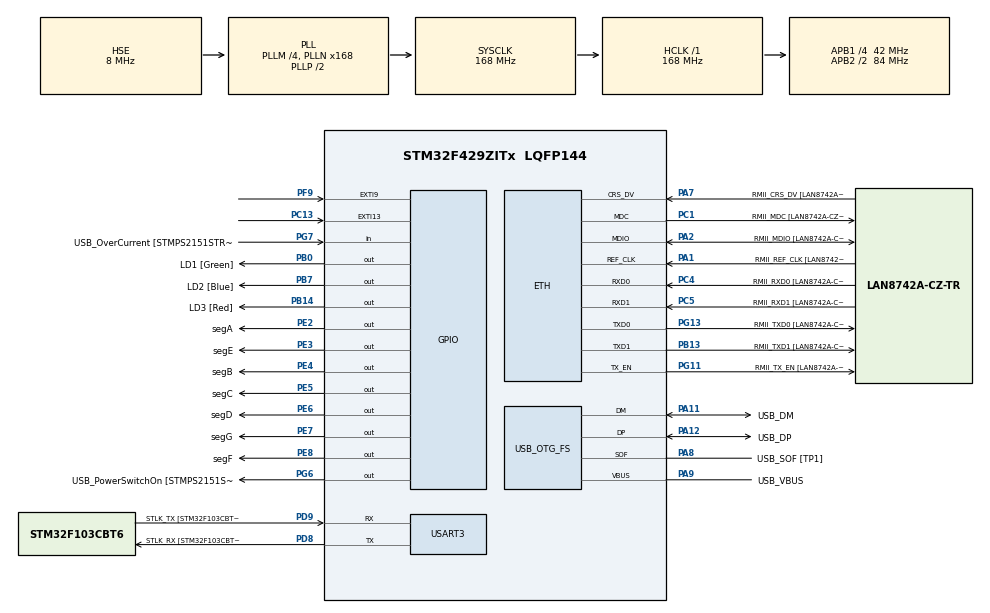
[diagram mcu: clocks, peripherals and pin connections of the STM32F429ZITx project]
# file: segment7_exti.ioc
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ETH.MediaInterface=HAL_ETH_RMII_MODE
ETH.PHY_Name=LAN8742A_PHY_ADDRESS
ETH.PHY_Value=0
ETH.PhyAddress=0
Mcu.Family=STM32F4
Mcu.Name=STM32F429ZITx
Mcu.Package=LQFP144
NVIC.EXTI15_10_IRQn=true\:0\:0\:false\:true\:true\:1\:true\:true\:true
NVIC.EXTI9_5_IRQn=true\:0\:0\:false\:true\:true\:2\:true\:true\:true
NVIC.PriorityGroup=NVIC_PRIORITYGROUP_4
PA1.GPIO_Label=RMII_REF_CLK [LAN8742A-CZ-TR_REFCLK0]
PA1.Mode=RMII
PA1.Signal=ETH_REF_CLK
PA10.GPIO_Label=USB_ID
PA10.Signal=USB_OTG_FS_ID
PA11.GPIO_Label=USB_DM
PA11.Mode=Device_Only
PA11.Signal=USB_OTG_FS_DM
PA12.GPIO_Label=USB_DP
PA12.Mode=Device_Only
PA12.Signal=USB_OTG_FS_DP
PA13.GPIO_Label=TMS
PA13.Mode=Serial_Wire
PA13.Signal=SYS_JTMS-SWDIO
PA14.GPIO_Label=TCK
PA14.Mode=Serial_Wire
PA14.Signal=SYS_JTCK-SWCLK
PA2.GPIO_Label=RMII_MDIO [LAN8742A-CZ-TR_MDIO]
PA2.Mode=RMII
PA2.Signal=ETH_MDIO
PA7.GPIO_Label=RMII_CRS_DV [LAN8742A-CZ-TR_CRS_DV]
PA7.Mode=RMII
PA7.Signal=ETH_CRS_DV
PA8.GPIO_Label=USB_SOF [TP1]
PA8.Mode=Activate_SOF_FS
PA8.Signal=USB_OTG_FS_SOF
PA9.GPIO_Label=USB_VBUS
PA9.Mode=Activate_VBUS
PA9.Signal=USB_OTG_FS_VBUS
PB0.GPIO_Label=LD1 [Green]
PB0.Signal=GPIO_Output
PB13.GPIO_Label=RMII_TXD1 [LAN8742A-CZ-TR_TXD1]
PB13.Mode=RMII
PB13.Signal=ETH_TXD1
PB14.GPIO_Label=LD3 [Red]
PB14.Signal=GPIO_Output
PB7.GPIO_Label=LD2 [Blue]
PB7.Signal=GPIO_Output
PC1.GPIO_Label=RMII_MDC [LAN8742A-CZ-TR_MDC]
PC1.Mode=RMII
PC1.Signal=ETH_MDC
PC13.Signal=GPXTI13
PC14/OSC32_IN.Mode=LSE-External-Oscillator
PC14/OSC32_IN.Signal=RCC_OSC32_IN
PC15/OSC32_OUT.Mode=LSE-External-Oscillator
PC15/OSC32_OUT.Signal=RCC_OSC32_OUT
PC4.GPIO_Label=RMII_RXD0 [LAN8742A-CZ-TR_RXD0]
PC4.Mode=RMII
PC4.Signal=ETH_RXD0
PC5.GPIO_Label=RMII_RXD1 [LAN8742A-CZ-TR_RXD1]
PC5.Mode=RMII
PC5.Signal=ETH_RXD1
PD8.GPIO_Label=STLK_RX [STM32F103CBT6_PA3]
PD8.Mode=Asynchronous
PD8.Signal=USART3_TX
PD9.GPIO_Label=STLK_TX [STM32F103CBT6_PA2]
PD9.Mode=Asynchronous
PD9.Signal=USART3_RX
PE2.GPIO_Label=segA
PE2.Signal=GPIO_Output
PE3.GPIO_Label=segE
PE3.Signal=GPIO_Output
PE4.GPIO_Label=segB
PE4.Signal=GPIO_Output
PE5.GPIO_Label=segC
PE5.Signal=GPIO_Output
PE6.GPIO_Label=segD
PE6.Signal=GPIO_Output
PE7.GPIO_Label=segG
PE7.Signal=GPIO_Output
PE8.GPIO_Label=segF
PE8.Signal=GPIO_Output
PF9.Signal=GPXTI9
PG11.GPIO_Label=RMII_TX_EN [LAN8742A-CZ-TR_TXEN]
PG11.Mode=RMII
PG11.Signal=ETH_TX_EN
PG13.GPIO_Label=RMII_TXD0 [LAN8742A-CZ-TR_TXD0]
PG13.Mode=RMII
PG13.Signal=ETH_TXD0
PG6.GPIO_Label=USB_PowerSwitchOn [STMPS2151STR_EN]
PG6.Signal=GPIO_Output
PG7.GPIO_Label=USB_OverCurrent [STMPS2151STR_FAULT]
PG7.Signal=GPIO_Input
PH0/OSC_IN.GPIO_Label=MCO [STM32F103CBT6_PA8]
PH0/OSC_IN.Mode=HSE-External-Clock-Source
PH0/OSC_IN.Signal=RCC_OSC_IN
PH1/OSC_OUT.Mode=HSE-External-Clock-Source
PH1/OSC_OUT.Signal=RCC_OSC_OUT
ProjectManager.HeapSize=0x200
ProjectManager.StackSize=0x400
ProjectManager.TargetToolchain=STM32CubeIDE
RCC.48MHZClocksFreq_Value=48000000
RCC.AHBFreq_Value=168000000
RCC.APB1CLKDivider=RCC_HCLK_DIV4
RCC.APB1Freq_Value=42000000
RCC.APB1TimFreq_Value=84000000
RCC.APB2CLKDivider=RCC_HCLK_DIV2
RCC.APB2Freq_Value=84000000
RCC.APB2TimCLKDivider=2
RCC.APB2TimFreq_Value=168000000
RCC.CortexFreq_Value=168000000
RCC.HCLKFreq_Value=168000000
RCC.HSE_VALUE=8000000
RCC.HSI_VALUE=16000000
RCC.PLLM=4
RCC.PLLMUL=RCC_PLL_MUL9
RCC.PLLN=168
RCC.PLLQ=7
RCC.PRESCALERUSB=RCC_USBCLKSOURCE_PLL_DIV1_5
RCC.SYSCLKFreq_VALUE=168000000
RCC.SYSCLKSource=RCC_SYSCLKSOURCE_PLLCLK
RCC.SYSCLKSourceVirtual=RCC_SYSCLKSOURCE_PLLCLK
RCC.USBFreq_Value=48000000
RCC.VCOOutputFreq_Value=336000000
USART3.VirtualMode=VM_ASYNC
USB_OTG_FS.VirtualMode=Device_Only
board=NUCLEO-F429ZI

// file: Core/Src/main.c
/* USER CODE BEGIN Header */
/**
  ******************************************************************************
  * @file           : main.c
  * @brief          : Main program body
  ******************************************************************************
  * @attention
  *
  * Copyright (c) 2023 STMicroelectronics.
  * All rights reserved.
  *
  * This software is licensed under terms that can be found in the LICENSE file
  * in the root directory of this software component.
  * If no LICENSE file comes with this software, it is provided AS-IS.
  *
  ******************************************************************************
  */
/* USER CODE END Header */
#include "main.h"
#include "string.h"

ETH_TxPacketConfig TxConfig;
ETH_DMADescTypeDef  DMARxDscrTab[ETH_RX_DESC_CNT]; /* Ethernet Rx DMA Descriptors */
ETH_DMADescTypeDef  DMATxDscrTab[ETH_TX_DESC_CNT]; /* Ethernet Tx DMA Descriptors */

ETH_HandleTypeDef heth;

UART_HandleTypeDef huart3;

PCD_HandleTypeDef hpcd_USB_OTG_FS;

void SystemClock_Config(void);
static void MX_GPIO_Init(void);
static void MX_ETH_Init(void);
static void MX_USART3_UART_Init(void);
static void MX_USB_OTG_FS_PCD_Init(void);
static void MX_NVIC_Init(void);

/* USER CODE BEGIN 0 */
const int number0x[10] = {0x0080, 0xffcf, 0xff23, 0x0108, 0x004c, 0x0018, 0x0010, 0x01c8, 0x0000, 0x0008};
	  int count = 0;
	  void seg_print(int n);

/* USER CODE END 0 */

int main(void)
{

  /* MCU Configuration--------------------------------------------------------*/

  /* Reset of all peripherals, Initializes the Flash interface and the Systick. */
  HAL_Init();

  /* Configure the system clock */
  SystemClock_Config();

  /* Initialize all configured peripherals */
  MX_GPIO_Init();
  MX_ETH_Init();
  MX_USART3_UART_Init();
  MX_USB_OTG_FS_PCD_Init();

  /* Initialize interrupts */
  MX_NVIC_Init();
  /* USER CODE BEGIN 2 */
  GPIOE -> ODR = number0x[0];

  /* USER CODE END 2 */

  /* Infinite loop */
  while (1)
  {

  }
}

void SystemClock_Config(void)
{
  RCC_OscInitTypeDef RCC_OscInitStruct = {0};
  RCC_ClkInitTypeDef RCC_ClkInitStruct = {0};

  /** Configure the main internal regulator output voltage
  */
  __HAL_RCC_PWR_CLK_ENABLE();
  __HAL_PWR_VOLTAGESCALING_CONFIG(PWR_REGULATOR_VOLTAGE_SCALE1);

  /** Initializes the RCC Oscillators according to the specified parameters
  * in the RCC_OscInitTypeDef structure.
  */
  RCC_OscInitStruct.OscillatorType = RCC_OSCILLATORTYPE_HSE;
  RCC_OscInitStruct.HSEState = RCC_HSE_BYPASS;
  RCC_OscInitStruct.PLL.PLLState = RCC_PLL_ON;
  RCC_OscInitStruct.PLL.PLLSource = RCC_PLLSOURCE_HSE;
  RCC_OscInitStruct.PLL.PLLM = 4;
  RCC_OscInitStruct.PLL.PLLN = 168;
  RCC_OscInitStruct.PLL.PLLP = RCC_PLLP_DIV2;
  RCC_OscInitStruct.PLL.PLLQ = 7;
  if (HAL_RCC_OscConfig(&RCC_OscInitStruct) != HAL_OK)
  {
    Error_Handler();
  }

  /** Initializes the CPU, AHB and APB buses clocks
  */
  RCC_ClkInitStruct.ClockType = RCC_CLOCKTYPE_HCLK|RCC_CLOCKTYPE_SYSCLK
                              |RCC_CLOCKTYPE_PCLK1|RCC_CLOCKTYPE_PCLK2;
  RCC_ClkInitStruct.SYSCLKSource = RCC_SYSCLKSOURCE_PLLCLK;
  RCC_ClkInitStruct.AHBCLKDivider = RCC_SYSCLK_DIV1;
  RCC_ClkInitStruct.APB1CLKDivider = RCC_HCLK_DIV4;
  RCC_ClkInitStruct.APB2CLKDivider = RCC_HCLK_DIV2;

  if (HAL_RCC_ClockConfig(&RCC_ClkInitStruct, FLASH_LATENCY_5) != HAL_OK)
  {
    Error_Handler();
  }
}

/**
  * @brief NVIC Configuration.
  * @retval None
  */
static void MX_NVIC_Init(void)
{
  /* EXTI15_10_IRQn interrupt configuration */
  HAL_NVIC_SetPriority(EXTI15_10_IRQn, 0, 0);
  HAL_NVIC_EnableIRQ(EXTI15_10_IRQn);
  /* EXTI9_5_IRQn interrupt configuration */
  HAL_NVIC_SetPriority(EXTI9_5_IRQn, 0, 0);
  HAL_NVIC_EnableIRQ(EXTI9_5_IRQn);
}

static void MX_ETH_Init(void)
{

   static uint8_t MACAddr[6];

  heth.Instance = ETH;
  MACAddr[0] = 0x00;
  MACAddr[1] = 0x80;
  MACAddr[2] = 0xE1;
  MACAddr[3] = 0x00;
  MACAddr[4] = 0x00;
  MACAddr[5] = 0x00;
  heth.Init.MACAddr = &MACAddr[0];
  heth.Init.MediaInterface = HAL_ETH_RMII_MODE;
  heth.Init.TxDesc = DMATxDscrTab;
  heth.Init.RxDesc = DMARxDscrTab;
  heth.Init.RxBuffLen = 1524;

  if (HAL_ETH_Init(&heth) != HAL_OK)
  {
    Error_Handler();
  }

  memset(&TxConfig, 0 , sizeof(ETH_TxPacketConfig));
  TxConfig.Attributes = ETH_TX_PACKETS_FEATURES_CSUM | ETH_TX_PACKETS_FEATURES_CRCPAD;
  TxConfig.ChecksumCtrl = ETH_CHECKSUM_IPHDR_PAYLOAD_INSERT_PHDR_CALC;
  TxConfig.CRCPadCtrl = ETH_CRC_PAD_INSERT;

}

static void MX_USART3_UART_Init(void)
{

  huart3.Instance = USART3;
  huart3.Init.BaudRate = 115200;
  huart3.Init.WordLength = UART_WORDLENGTH_8B;
  huart3.Init.StopBits = UART_STOPBITS_1;
  huart3.Init.Parity = UART_PARITY_NONE;
  huart3.Init.Mode = UART_MODE_TX_RX;
  huart3.Init.HwFlowCtl = UART_HWCONTROL_NONE;
  huart3.Init.OverSampling = UART_OVERSAMPLING_16;
  if (HAL_UART_Init(&huart3) != HAL_OK)
  {
    Error_Handler();
  }

}

static void MX_USB_OTG_FS_PCD_Init(void)
{

  hpcd_USB_OTG_FS.Instance = USB_OTG_FS;
  hpcd_USB_OTG_FS.Init.dev_endpoints = 4;
  hpcd_USB_OTG_FS.Init.speed = PCD_SPEED_FULL;
  hpcd_USB_OTG_FS.Init.dma_enable = DISABLE;
  hpcd_USB_OTG_FS.Init.phy_itface = PCD_PHY_EMBEDDED;
  hpcd_USB_OTG_FS.Init.Sof_enable = ENABLE;
  hpcd_USB_OTG_FS.Init.low_power_enable = DISABLE;
  hpcd_USB_OTG_FS.Init.lpm_enable = DISABLE;
  hpcd_USB_OTG_FS.Init.vbus_sensing_enable = ENABLE;
  hpcd_USB_OTG_FS.Init.use_dedicated_ep1 = DISABLE;
  if (HAL_PCD_Init(&hpcd_USB_OTG_FS) != HAL_OK)
  {
    Error_Handler();
  }

}

static void MX_GPIO_Init(void)
{
  GPIO_InitTypeDef GPIO_InitStruct = {0};

  /* GPIO Ports Clock Enable */
  __HAL_RCC_GPIOE_CLK_ENABLE();
  __HAL_RCC_GPIOC_CLK_ENABLE();
  __HAL_RCC_GPIOF_CLK_ENABLE();
  __HAL_RCC_GPIOH_CLK_ENABLE();
  __HAL_RCC_GPIOA_CLK_ENABLE();
  __HAL_RCC_GPIOB_CLK_ENABLE();
  __HAL_RCC_GPIOD_CLK_ENABLE();
  __HAL_RCC_GPIOG_CLK_ENABLE();

  /*Configure GPIO pin Output Level */
  HAL_GPIO_WritePin(GPIOE, segA_Pin|segE_Pin|segB_Pin|segC_Pin
                          |segD_Pin|segG_Pin|segF_Pin, GPIO_PIN_RESET);

  /*Configure GPIO pin Output Level */
  HAL_GPIO_WritePin(GPIOB, LD1_Pin|LD3_Pin|LD2_Pin, GPIO_PIN_RESET);

  /*Configure GPIO pin Output Level */
  HAL_GPIO_WritePin(USB_PowerSwitchOn_GPIO_Port, USB_PowerSwitchOn_Pin, GPIO_PIN_RESET);

  /*Configure GPIO pins : segA_Pin segE_Pin segB_Pin segC_Pin
                           segD_Pin segG_Pin segF_Pin */
  GPIO_InitStruct.Pin = segA_Pin|segE_Pin|segB_Pin|segC_Pin
                          |segD_Pin|segG_Pin|segF_Pin;
  GPIO_InitStruct.Mode = GPIO_MODE_OUTPUT_PP;
  GPIO_InitStruct.Pull = GPIO_NOPULL;
  GPIO_InitStruct.Speed = GPIO_SPEED_FREQ_LOW;
  HAL_GPIO_Init(GPIOE, &GPIO_InitStruct);

  /*Configure GPIO pin : PC13 */
  GPIO_InitStruct.Pin = GPIO_PIN_13;
  GPIO_InitStruct.Mode = GPIO_MODE_IT_RISING;
  GPIO_InitStruct.Pull = GPIO_NOPULL;
  HAL_GPIO_Init(GPIOC, &GPIO_InitStruct);

  /*Configure GPIO pin : PF9 */
  GPIO_InitStruct.Pin = GPIO_PIN_9;
  GPIO_InitStruct.Mode = GPIO_MODE_IT_RISING;
  GPIO_InitStruct.Pull = GPIO_NOPULL;
  HAL_GPIO_Init(GPIOF, &GPIO_InitStruct);

  /*Configure GPIO pins : LD1_Pin LD3_Pin LD2_Pin */
  GPIO_InitStruct.Pin = LD1_Pin|LD3_Pin|LD2_Pin;
  GPIO_InitStruct.Mode = GPIO_MODE_OUTPUT_PP;
  GPIO_InitStruct.Pull = GPIO_NOPULL;
  GPIO_InitStruct.Speed = GPIO_SPEED_FREQ_LOW;
  HAL_GPIO_Init(GPIOB, &GPIO_InitStruct);

  /*Configure GPIO pin : USB_PowerSwitchOn_Pin */
  GPIO_InitStruct.Pin = USB_PowerSwitchOn_Pin;
  GPIO_InitStruct.Mode = GPIO_MODE_OUTPUT_PP;
  GPIO_InitStruct.Pull = GPIO_NOPULL;
  GPIO_InitStruct.Speed = GPIO_SPEED_FREQ_LOW;
  HAL_GPIO_Init(USB_PowerSwitchOn_GPIO_Port, &GPIO_InitStruct);

  /*Configure GPIO pin : USB_OverCurrent_Pin */
  GPIO_InitStruct.Pin = USB_OverCurrent_Pin;
  GPIO_InitStruct.Mode = GPIO_MODE_INPUT;
  GPIO_InitStruct.Pull = GPIO_NOPULL;
  HAL_GPIO_Init(USB_OverCurrent_GPIO_Port, &GPIO_InitStruct);

}

/* USER CODE BEGIN 4 */
void seg_print(int n) {
	  GPIOE -> ODR = number0x[n];
  }

void HAL_GPIO_EXTI_Callback(uint16_t GPIO_Pin) {

	if(GPIO_Pin == GPIO_PIN_13) {
		count++;
		if (count==10) count = 0;
		seg_print(count);
		HAL_Delay(200);
	}
	if (GPIO_Pin == GPIO_PIN_9) {
		count--;
		if (count == -1) count = 9;
		seg_print(count);
		HAL_Delay(200);
	}
}

/* USER CODE END 4 */

void Error_Handler(void)
{
  __disable_irq();
  while (1)
  {
  }
}
